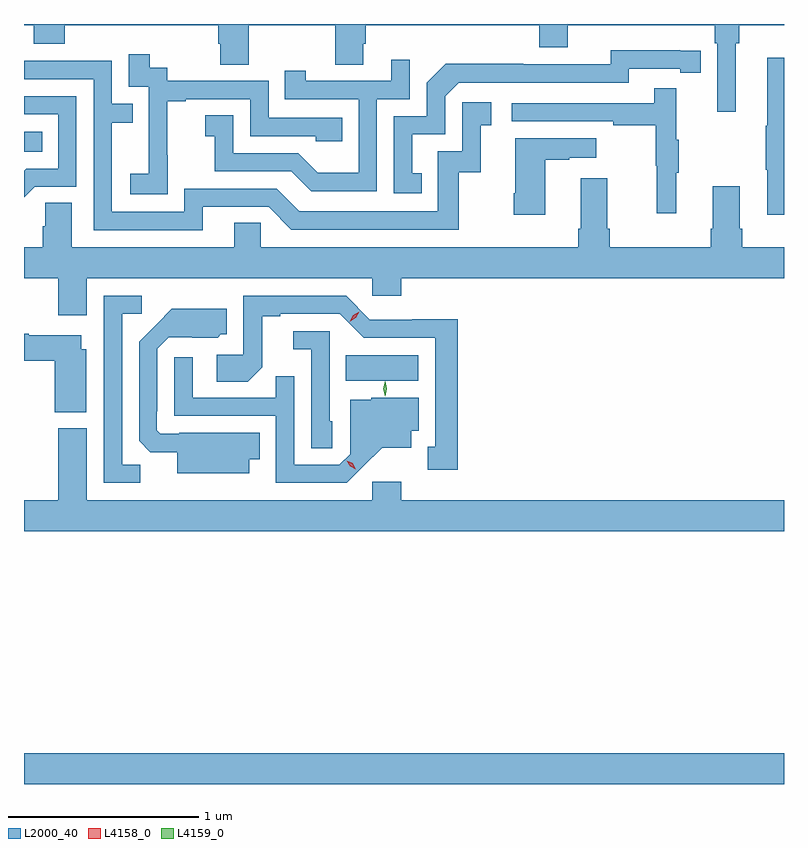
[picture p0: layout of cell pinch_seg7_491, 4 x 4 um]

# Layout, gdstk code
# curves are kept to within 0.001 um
import gdstk
lib = gdstk.Library(unit=1e-6, precision=1e-09)
def R(c, l, rs):  # rectangles x0, y0, x1, y1
    for r in rs: c.add(gdstk.rectangle(r[:2], r[2:], *l))
def P(c, l, *ps):  # polygons
    for p in ps: c.add(gdstk.Polygon(p, *l))
L2000_40 = (2000, 40)
L4158_0 = (4158, 0)
L4159_0 = (4159, 0)

pinch_seg7_491 = lib.new_cell('pinch_seg7_491')
R(pinch_seg7_491, L2000_40, [(135.897,1069.882,139.897,1070.044), (137.59,1072.004,137.971,1072.138), (135.897,1073.21,135.992,1073.314)])
P(pinch_seg7_491, L2000_40, [(139.642,1073.78),(139.661,1073.78),(139.661,1073.876),(139.897,1073.876),(139.897,1073.882),(135.897,1073.882),(135.897,1073.876),(135.947,1073.876),(135.947,1073.777),(136.112,1073.777),(136.112,1073.876),(136.919,1073.876),(136.919,1073.778),(136.931,1073.778),(136.931,1073.668),(137.079,1073.668),(137.079,1073.876),(137.536,1073.876),(137.536,1073.668),(137.683,1073.668),(137.683,1073.778),(137.696,1073.778),(137.696,1073.876),(138.608,1073.876),(138.608,1073.759),(138.76,1073.759),(138.76,1073.876),(139.532,1073.876),(139.532,1073.78),(139.545,1073.78),(139.545,1073.421),(139.642,1073.421)],
  [(137.99,1073.097),(137.941,1073.097),(137.941,1073.301),(138.114,1073.301),(138.114,1073.502),(138.186,1073.574),(139.08,1073.574),(139.08,1073.646),(139.352,1073.646),(139.352,1073.626),(139.46,1073.626),(139.46,1073.742),(138.984,1073.743),(138.984,1073.67),(138.524,1073.67),(138.524,1073.672),(138.116,1073.672),(138.018,1073.574),(138.018,1073.397),(137.844,1073.397),(137.844,1072.992),(137.99,1072.992)],
  [(136.653,1073.191),(136.652,1073.191),(136.652,1073.475),(136.747,1073.475),(136.747,1073.487),(137.088,1073.487),(137.088,1073.292),(137.433,1073.292),(137.433,1073.265),(137.573,1073.265),(137.573,1073.388),(137.184,1073.388),(137.184,1073.583),(136.65,1073.583),(136.65,1073.652),(136.558,1073.652),(136.558,1073.722),(136.449,1073.722),(136.449,1073.553),(136.554,1073.553),(136.554,1073.324),(136.553,1073.324),(136.553,1073.095),(136.455,1073.095),(136.455,1072.985),(136.653,1072.985)],
  [(139.897,1073.704),(139.808,1073.704),(139.808,1073.346),(139.801,1073.346),(139.801,1073.116),(139.808,1073.116),(139.808,1072.878),(139.897,1072.878)],
  [(137.754,1073.487),(137.928,1073.487),(137.928,1073.695),(137.831,1073.695),(137.831,1073.583),(137.38,1073.583),(137.38,1073.635),(137.269,1073.635),(137.269,1073.487),(137.658,1073.487),(137.658,1073.098),(137.444,1073.098),(137.34,1073.202),(136.998,1073.202),(136.998,1073.401),(136.851,1073.401),(136.851,1073.291),(136.9,1073.291),(136.9,1073.106),(137.303,1073.106),(137.408,1073.001),(137.754,1073.001)],
  [(136.837,1072.92),(137.184,1072.92),(137.304,1072.8),(138.184,1072.8),(138.184,1073.103),(138.302,1073.103),(138.302,1073.349),(138.355,1073.349),(138.355,1073.47),(138.204,1073.47),(138.204,1073.211),(138.075,1073.211),(138.075,1072.896),(137.346,1072.896),(137.226,1073.016),(136.74,1073.016),(136.74,1072.893),(136.359,1072.893),(136.359,1073.362),(136.469,1073.362),(136.469,1073.463),(136.359,1073.463),(136.359,1073.688),(135.897,1073.688),(135.897,1073.592),(136.263,1073.592),(136.263,1072.797),(136.837,1072.797)],
  [(139.331,1073.099),(139.342,1073.099),(139.342,1073.273),(139.331,1073.273),(139.331,1073.545),(139.213,1073.545),(139.213,1073.466),(138.465,1073.466),(138.465,1073.37),(138.997,1073.37),(138.997,1073.35),(139.221,1073.35),(139.221,1073.136),(139.228,1073.136),(139.228,1072.887),(139.331,1072.887)],
  [(135.954,1073.025),(136.173,1073.025),(136.173,1073.502),(135.897,1073.502),(135.897,1073.406),(136.077,1073.406),(136.077,1073.121),(135.908,1073.121),(135.897,1073.11),(135.897,1072.969)],
  [(138.64,1073.167),(138.767,1073.167),(138.767,1073.177),(138.91,1073.177),(138.91,1073.281),(138.482,1073.281),(138.482,1072.99),(138.475,1072.99),(138.475,1072.878),(138.64,1072.878)],
  [(137.142,1072.835),(137.003,1072.835),(137.003,1072.708),(136.147,1072.708),(136.147,1072.94),(136.008,1072.94),(136.008,1072.817),(135.995,1072.817),(135.995,1072.708),(135.897,1072.708),(135.897,1072.544),(136.076,1072.544),(136.076,1072.35),(136.228,1072.35),(136.228,1072.544),(137.73,1072.544),(137.73,1072.451),(137.882,1072.451),(137.882,1072.544),(139.897,1072.544),(139.897,1072.708),(139.676,1072.708),(139.676,1072.804),(139.663,1072.804),(139.663,1073.029),(139.523,1073.029),(139.523,1072.804),(139.511,1072.804),(139.511,1072.708),(138.98,1072.708),(138.98,1072.804),(138.967,1072.804),(138.967,1073.071),(138.827,1073.071),(138.827,1072.804),(138.815,1072.804),(138.815,1072.708),(137.142,1072.708)],
  [(138.181,1072.328),(137.94,1072.328),(137.94,1072.326),(137.718,1072.326),(137.592,1072.452),(137.052,1072.452),(137.052,1072.14),(136.911,1072.14),(136.911,1072),(137.075,1072),(137.151,1072.076),(137.151,1072.344),(137.245,1072.344),(137.245,1072.356),(137.559,1072.356),(137.685,1072.23),(138.062,1072.23),(138.062,1071.657),(138.023,1071.657),(138.023,1071.537),(138.181,1071.537)],
  [(136.509,1071.563),(136.413,1071.563),(136.413,1072.356),(136.516,1072.356),(136.516,1072.452),(136.317,1072.452),(136.317,1071.468),(136.509,1071.468)],
  [(137.083,1071.59),(137.138,1071.59),(137.138,1071.73),(136.714,1071.73),(136.714,1071.726),(136.614,1071.726),(136.596,1071.744),(136.596,1071.844),(136.599,1071.844),(136.599,1072.173),(136.659,1072.233),(136.916,1072.232),(136.932,1072.248),(136.963,1072.248),(136.963,1072.384),(136.675,1072.384),(136.503,1072.21),(136.503,1071.688),(136.562,1071.629),(136.703,1071.629),(136.703,1071.518),(137.083,1071.518)],
  [(137.52,1071.792),(137.505,1071.792),(137.505,1072.266),(137.313,1072.266),(137.313,1072.169),(137.409,1072.169),(137.409,1071.649),(137.52,1071.649)],
  [(136.225,1072.17),(136.198,1072.17),(136.198,1072.243),(135.922,1072.243),(135.922,1072.251),(135.897,1072.251),(135.897,1072.109),(136.058,1072.109),(136.058,1071.839),(136.225,1071.839)],
  [(137.68,1071.551),(137.783,1071.653),(137.935,1071.653),(137.935,1071.74),(137.974,1071.74),(137.974,1071.916),(137.724,1071.916),(137.724,1071.904),(137.613,1071.904),(137.613,1071.618),(137.556,1071.561),(137.319,1071.561),(137.319,1072.028),(137.221,1072.028),(137.221,1071.915),(136.785,1071.915),(136.785,1072.129),(136.689,1072.129),(136.689,1071.819),(137.223,1071.819),(137.223,1071.468),(137.596,1071.468)],
  [(139.897,1071.376),(137.882,1071.376),(137.882,1071.472),(137.73,1071.472),(137.73,1071.376),(136.228,1071.376),(136.228,1071.754),(136.076,1071.754),(136.076,1071.376),(135.897,1071.376),(135.897,1071.212),(139.897,1071.212)])
P(pinch_seg7_491, L4158_0, [(137.612,1072.316),(137.612,1072.316),(137.63,1072.349),(137.662,1072.368),(137.662,1072.368),(137.662,1072.367),(137.644,1072.335),(137.612,1072.316)],
  [(137.643,1071.539),(137.613,1071.554),(137.595,1071.583),(137.595,1071.584),(137.596,1071.584),(137.626,1071.569),(137.644,1071.539),(137.644,1071.539)])
P(pinch_seg7_491, L4159_0, [(137.797,1071.922),(137.797,1071.922),(137.787,1071.962),(137.797,1072.002),(137.797,1072.002),(137.798,1072.002),(137.807,1071.962),(137.798,1071.922)])

lib.write_gds('pinch_seg7_491.gds')
